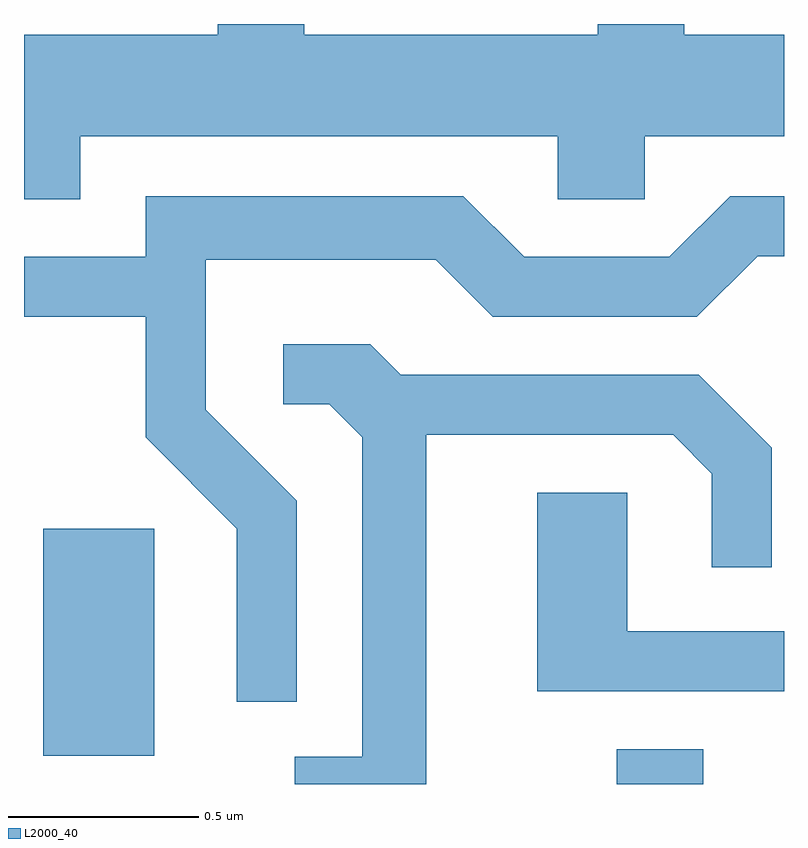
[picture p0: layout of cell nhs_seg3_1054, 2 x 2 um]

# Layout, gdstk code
import gdstk
lib = gdstk.Library(unit=1e-6, precision=1e-09)
def R(c, l, rs):  # rectangles x0, y0, x1, y1
    for r in rs: c.add(gdstk.rectangle(r[:2], r[2:], *l))
def P(c, l, *ps):  # polygons
    for p in ps: c.add(gdstk.Polygon(p, *l))
L2000_40 = (2000, 40)

nhs_seg3_1054 = lib.new_cell('nhs_seg3_1054')
R(nhs_seg3_1054, L2000_40, [(194.171,1210.892,194.399,1210.984), (192.661,1210.966,192.954,1211.564)])
P(nhs_seg3_1054, L2000_40, [(192.759,1212.596),(194.016,1212.596),(194.016,1212.431),(194.244,1212.431),(194.244,1212.596),(194.611,1212.596),(194.611,1212.864),(194.349,1212.864),(194.349,1212.892),(194.121,1212.892),(194.121,1212.864),(193.349,1212.864),(193.349,1212.892),(193.121,1212.892),(193.121,1212.864),(192.611,1212.864),(192.611,1212.431),(192.759,1212.431)],
  [(193.329,1211.637),(193.089,1211.877),(193.089,1212.271),(193.694,1212.271),(193.844,1212.121),(194.382,1212.121),(194.542,1212.281),(194.611,1212.281),(194.611,1212.439),(194.469,1212.439),(194.309,1212.279),(193.927,1212.279),(193.767,1212.439),(192.931,1212.439),(192.931,1212.279),(192.611,1212.279),(192.611,1212.121),(192.931,1212.121),(192.931,1211.804),(193.171,1211.564),(193.171,1211.108),(193.329,1211.108)],
  [(193.669,1211.811),(194.319,1211.811),(194.421,1211.709),(194.421,1211.463),(194.579,1211.463),(194.579,1211.777),(194.387,1211.969),(193.602,1211.969),(193.522,1212.049),(193.293,1212.049),(193.293,1211.891),(193.414,1211.891),(193.501,1211.804),(193.501,1210.964),(193.323,1210.964),(193.323,1210.892),(193.669,1210.892)],
  [(194.611,1211.294),(194.199,1211.294),(194.199,1211.659),(193.961,1211.659),(193.961,1211.136),(194.611,1211.136)])

lib.write_gds('nhs_seg3_1054.gds')
